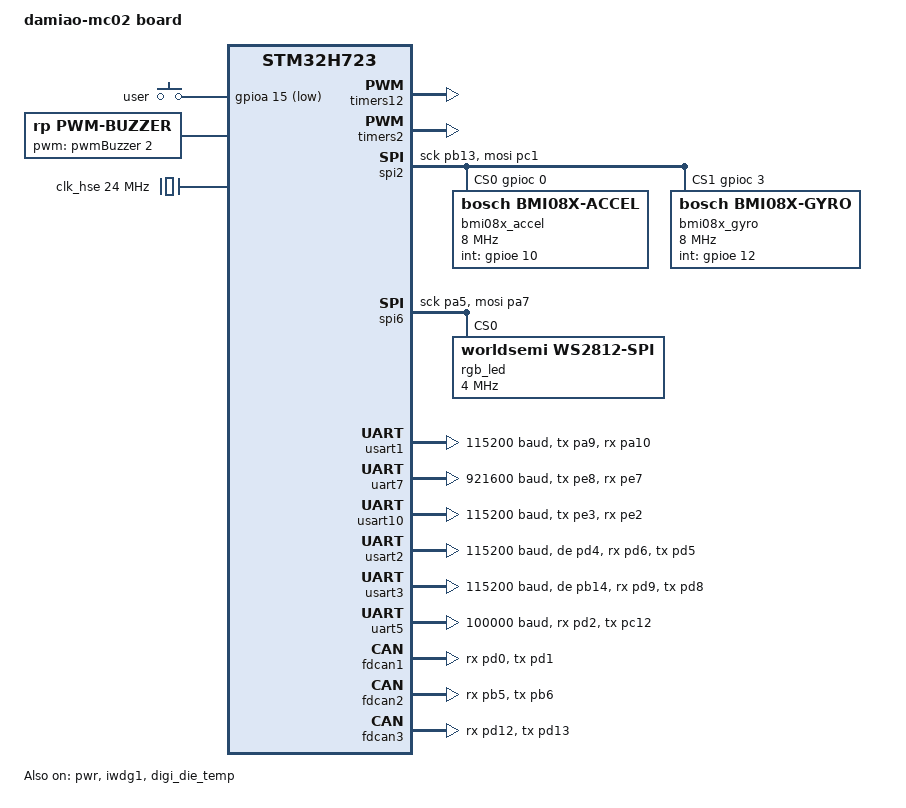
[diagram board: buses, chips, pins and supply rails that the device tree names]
/*
 * Copyright (c) 2025 RobotPilots-SZU
 * SPDX-License-Identifier: Apache-2.0
*/

/*
 * author: Sassinak
 * reference: zephyr/boards/st/nucleo_h723zg/nucleo_h723zg.dts,
 */

/dts-v1/;

#include <arm/st/h7/stm32h723Xg.dtsi>                       // 描述芯片的soc，内存地址信息
#include <st/h7/stm32h723vgtx-pinctrl.dtsi>                 // 描述芯片的引脚封装

#include <zephyr/dt-bindings/input/input-event-codes.h>     // 定义设备的输入事件码，比如按键
#include <zephyr/dt-bindings/led/led.h>                     // 定义LED的颜色
#include <zephyr/dt-bindings/dma/stm32_dma.h>
#include <zephyr/dt-bindings/spi/spi.h>
#include <zephyr/dt-bindings/pwm/pwm.h>       


// 根节点中只需要描述板子特有的硬件功能，在喵板中只有一个用户按键
/ {
    model = "damiao-mc02 board";
    compatible = "damiao,mc02", "st,stm32h723";

    chosen {
        zephyr,dtcm  = &dtcm;                
        zephyr,sram  = &sram0;
        zephyr,itcm  = &itcm;
        zephyr,flash = &flash0;
    };

    gpio_keys {
        compatible = "gpio-keys";
        user_button: button_0 {
            gpios = <&gpioa 15 (GPIO_PULL_DOWN | GPIO_ACTIVE_LOW)>;
            label = "user";
            zephyr,code = <INPUT_KEY_0>;                                // 在input-event-codes.h定义了按键输入事件
        };
    };

    buzzer: buzzer0 {
        status = "okay";
        compatible = "rp,pwm-buzzer";
        pwms = <&pwmBuzzer 2 PWM_MSEC(1) PWM_POLARITY_NORMAL>; 
        default-frequency = <2000>;   
        default-volume = <50>;                                         
    };

    aliases {
        sw0 = &user_button;         // switch 0,官方推荐用名,参考：https://docs.zephyrproject.org/latest/samples/basic/button/README.html
        buzzer0 = &buzzer;
    };
};

/* 时钟的配置可以根据cubemx的可视化时钟树来配置 */

&clk_lsi {
    status = "okay";
};

&clk_hsi48 {
    status = "okay";
};

/* 高速外部晶振 */
 &clk_hse {
     clock-frequency = <DT_FREQ_M(24)>;      // 外部晶振频率24MHz,定义在fixed-clock.yaml
     status = "okay";
 };


&pll {
    clocks = <&clk_hse>;
    div-m  = <12>;
    mul-n  = <275>;
    div-p  = <1>;
    div-q  = <2>;
    div-r  = <2>;
    status = "okay";
};

&pll2 {
    clocks = <&clk_hse>;
    div-m  = <2>;
    mul-n  = <40>;
    div-p  = <4>;
    div-q  = <4>;
    div-r  = <2>;
    status = "okay";
};

&pll3 {
    clocks = <&clk_hse>;
    div-m  = <2>;
    mul-n  = <16>;
    div-p  = <2>;
    div-q  = <4>;
    div-r  = <2>;
    status = "okay";
};

&rcc {
    clocks = <&pll>;
    clock-frequency = <DT_FREQ_M(550)>;
    d1cpre = <1>;   /* CPU: 550   MHz */
    hpre = <2>;     /* HCLK: 275   MHz */
    d1ppre = <2>;   /* APB1: 137.5 MHz */
    d2ppre1 = <2>;  /* APB2: 137.5 MHz */
    d2ppre2 = <2>;  /* APB3: 137.5 MHz */
    d3ppre = <2>;   /* APB4: 137.5 MHz */
};

&pwr {
    power-supply = "external-source";
    status = "okay";
};

&iwdg1 {
    status = "okay";
};

/* 断电保存ram */
&backup_sram {
    status = "okay";
};

&dma1 {
    status = "okay";
    dma-channels = <8>;             
};

&dma2 {
    status = "okay";
    dma-channels = <8>;             
};

/*
 * DMAMUX1 is used with DMA1 and DMA2 in D2 domain
 * DMAMUX1 channels 0 to 7 are connected to DMA1 channels 0 to 7
 * DMAMUX1 channels 8 to 15 are connected to DMA2 channels 0 to 7
 * search stm32h7xx_hal_dma.h find the defination of slot(DMA_REQUEST) & other configuration ！！！
 */
&dmamux1 {
    status = "okay";          
};

/* 芯片温度传感器 */
&digi_die_temp {
    status = "okay";
};

/*---------------------timers config start--------------------------*/
&timers12{
    status = "okay";
    st,prescaler = <138>;    // 137.5MHz / 137.5 = 1MHz

    pwmBuzzer: pwm{
        compatible = "st,stm32-pwm";
        status = "okay";
        pinctrl-0 = <&tim12_ch2_pb15>;
        pinctrl-names = "default";
    };
};

&timers2{
    status = "okay";
    st,prescaler = <138>;    // 137.5MHz / 137.5 = 1MHz

    PWM_1: pwm{
        compatible = "st,stm32-pwm";
        status = "okay";
        pinctrl-0 = <&tim2_ch1_pa0>;
        pinctrl-names = "default";
    };
};


/*---------------------spi config start----------------------------*/

&spi2 {
    status = "okay";
    clocks = <&rcc STM32_CLOCK(APB1, 14U)>,
             <&rcc STM32_SRC_PLL2_P SPI123_SEL(0)>;
    pinctrl-0 = <&spi2_sck_pb13 &spi2_miso_pc2_c &spi2_mosi_pc1>;
    pinctrl-names = "default";
    cs-gpios = <&gpioc 0 GPIO_ACTIVE_HIGH>,
               <&gpioc 3 GPIO_ACTIVE_HIGH>;
    dmas =  <&dmamux1 1 40 STM32_DMA_PERIPH_TX>,    // TX: DMA1 Stream 1, request 40
            <&dmamux1 4 39 STM32_DMA_PERIPH_RX>;    // RX: DMA1 Stream 4, request 39
    dma-names = "spi1-tx", "spi1-rx";

    bmi08x_accel: bmi08x@0 {
        compatible = "bosch,bmi08x-accel";
        // SPI
        reg = <0>;
        spi-max-frequency = <DT_FREQ_M(8)>;
        // BMI08x
        int-gpios = <&gpioe 10 GPIO_ACTIVE_HIGH>;
        int1-map-io = <0x01>;       /* int1 Ready  */
        int2-map-io = <0x00>;       /* No event  */
        int1-conf-io = <0x04>;      /* int1 open-drain  */
        int2-conf-io = <0x00>;      /* No mode */
        accel-hz = "800";
        accel-fs = <24>;
        data-sync = <&bmi08x_gyro>; // 陀螺仪加速度同步采集
    };

    bmi08x_gyro: bmi08x@1 {
        compatible = "bosch,bmi08x-gyro";
        // SPI
        reg = <1>;
        spi-max-frequency = <DT_FREQ_M(8)>;
        // BMI08x
        int-gpios = <&gpioe 12 GPIO_ACTIVE_HIGH>;
        int3-4-map-io = <0x01>;     /* int3 Ready  */
        int3-4-conf-io = <0x02>;    /* int3 open-drain  */
        gyro-hz = "1000_116";
        gyro-fs = <1000>;
        data-sync;
    };        
    
};

&spi6 {
    status = "okay";
    clocks = <&rcc STM32_CLOCK(APB4, 5U)>,
             <&rcc STM32_SRC_PLL2_Q SPI6_SEL(1)>;
    pinctrl-0 = <&spi6_sck_pa5 &spi6_mosi_pa7>;
    pinctrl-names = "default";

    rgb_led: ws2812@0 {
        compatible = "worldsemi,ws2812-spi";
        // SPI
        reg = <0>;
        spi-max-frequency = <DT_FREQ_M(4)>;
        frame-format = <SPI_FRAME_FORMAT_TI>;
        // WS2812
        chain-length = <1>;
        spi-one-frame = <0x70>;
        spi-zero-frame = <0x40>;
        color-mapping = <LED_COLOR_ID_GREEN>,
                        <LED_COLOR_ID_RED>,
                        <LED_COLOR_ID_BLUE>;
        reset-delay = <250>;
    };
};

/*---------------------spi config end----------------------------*/
 

/*---------------------usart config start------------------------*/
&usart1 {
    status = "okay";
    current-speed = <115200>;
    stop-bits = "1";
    data-bits = <8>;
    parity = "none";
    pinctrl-0 = <&usart1_tx_pa9 &usart1_rx_pa10>;
    pinctrl-names = "default";
    dmas =  <&dmamux1 9 42 STM32_DMA_PERIPH_TX>,   // TX: DMA2 Stream 2, request 42
            <&dmamux1 8 41 STM32_DMA_PERIPH_RX>;   // RX: DMA2 Stream 1, request 41
    dma-names = "usart1-tx", "usart1-rx";
    fifo-enable;
};

&uart7 {
    status = "okay";
    current-speed = <921600>;
    stop-bits = "1";
    data-bits = <8>;
    parity = "none";
    pinctrl-0 = <&uart7_tx_pe8 &uart7_rx_pe7>;
    pinctrl-names = "default";
    fifo-enable;
};

&usart10 {
    status = "okay";
    current-speed = <115200>;
    stop-bits = "1";
    data-bits = <8>;
    parity = "none";
    pinctrl-0 = <&usart10_tx_pe3 &usart10_rx_pe2>;
    pinctrl-names = "default";
    fifo-enable;
};


&uart8 {
    
};

&uart9 {
    
};


/*RS485*/
&usart2 {
    status = "okay";
    current-speed = <115200>;
    stop-bits = "1";
    data-bits = <8>;
    pinctrl-0 = <&usart2_de_pd4 &usart2_rx_pd6 &usart2_tx_pd5>;
    pinctrl-names = "default";
    de-enable;    
};
/*RS485*/
&usart3 {
    status = "okay";
    current-speed = <115200>;
    stop-bits = "1";
    data-bits = <8>;
    pinctrl-0 = <&usart3_de_pb14 &usart3_rx_pd9 &usart3_tx_pd8>;
    pinctrl-names = "default";
    de-enable;
};

/*sbus*/
&uart5 {
    status = "okay";
    current-speed = <100000>;
    stop-bits = "1";
    data-bits = <8>;
    parity = "even";
    pinctrl-0 = <&uart5_rx_pd2 &uart5_tx_pc12>;
    pinctrl-names = "default";
    fifo-enable;    
};
/*---------------------usart config end------------------------*/

/*---------------------can config start------------------------*/
/*
 *                 硬件过滤器的配置
 *
 *  The Bosch M_CAN IP supports the following elements:
 *  11-bit Filter        0-128 elements / 0-128 words
 *  29-bit Filter        0-64 elements / 0-128 words
 *  Rx FIFO 0            0-64 elements / 0-1152 words
 *  Rx FIFO 1            0-64 elements / 0-1152 words
 *  Rx Buffers            0-64 elements / 0-1152 words
 *  Tx Event FIFO        0-32 elements / 0-64 words
 *  Tx Buffers            0-32 elements / 0-576 words
 *
 *
 *                    bitrate
 * The CAN bitrates are set using: kconfig: option: `CONFIG_CAN_DEFAULT_BITRATE` 
 * and: kconfig: option: `CONFIG_CAN_DEFAULT_BITRATE_DATA`, but can be overridden on a board level 
 * using the ``bitrate`` and ``bitrate-data`` CAN controller devicetree properties if needed. 
 * Default bitrates are 125 kbits/s for the arbitration phase/CAN classic and 1 Mbit/s for the CAN FD data
 * 
 */
&fdcan1 {
    status = "okay";
    bosch,mram-cfg = <0x0 28 8 3 3 0 3 3>;                      // <offset std-filter-elements ext-filter-elements rx-fifo0-elements rx-fifo1-elements  rx-buffer-elements tx-event-fifo-elements tx-buffer-elements>
    clocks = <&rcc STM32_CLOCK(APB1_2, 8U)>,
             <&rcc STM32_SRC_PLL2_Q FDCAN_SEL(2)>;             // 在芯片手册中查一下 FDCANSEL，FDCANEN就懂了，配合cubmx时钟树
    pinctrl-0 = <&fdcan1_rx_pd0 &fdcan1_tx_pd1>;
    pinctrl-names = "default";
};

&fdcan2 {
    status = "okay";
    bosch,mram-cfg = <0x0 28 8 3 3 0 3 3>;
    clocks = <&rcc STM32_CLOCK(APB1_2, 8U)>,
             <&rcc STM32_SRC_PLL2_Q FDCAN_SEL(2)>;
    pinctrl-0 = <&fdcan2_rx_pb5 &fdcan2_tx_pb6>;
    pinctrl-names = "default";
};

&fdcan3 {
    status = "okay";
    bosch,mram-cfg = <0x0 28 8 3 3 0 3 3>;
    clocks = <&rcc STM32_CLOCK(APB1_2, 8U)>,
             <&rcc STM32_SRC_PLL2_Q FDCAN_SEL(2)>;
    pinctrl-0 = <&fdcan3_rx_pd12 &fdcan3_tx_pd13>;
    pinctrl-names = "default";
};

/*---------------------can config end---------------------------*/
